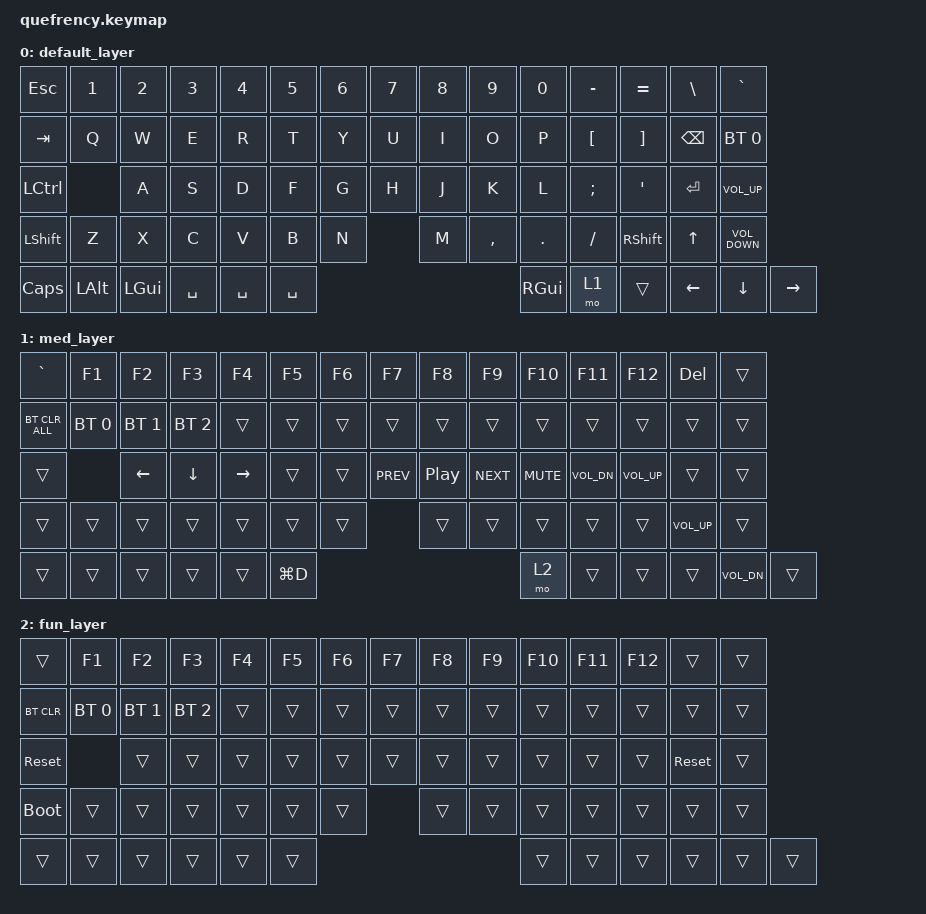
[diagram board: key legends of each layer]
/*
 * Copyright (c) 2020 The ZMK Contributors
 *
 * SPDX-License-Identifier: MIT
 */

#include <behaviors.dtsi>
#include <dt-bindings/zmk/bt.h>
#include <dt-bindings/zmk/keys.h>

#define DEFAULT 0
#define MED   1
#define FUN   2

/ {
    keymap {
        compatible = "zmk,keymap";

        // ----------------------------------------------      -----------------------------------------------------
        // | ESC  |  1   |  2  |  3   |  4  |  5  |  6  |      |  7  |  8  |  9  |  0  |  -  |  =  |  BKSPC |  `   |
        // | TAB   |  Q   |  W  |  E   |  R  |  T  |        |  Y  |  U  |  I  |  O  |  P  |  [  |  ]  |  \  | DEL  |
        // | CAPS  |  A   |  S  |  D   |  F  |  G  |        |  H  |  J  |  K  |  L  |  ;  |  '  |   ENTER  | PGUP |
        // | SHIFT   |  Z   |  X  |  C  |  V   |  B  |        |  N  |  M  |  ,  |  .  |  /  |  RSHFT  |  UP | PGDN |
        // |  LCTRL   | LGUI | LALT  | FN|   SPACE  |        |    SPACE    | RALT | FN | RCTRL | LFT | DWN | RGHT |
        // -------------------------------------------        ------------------------------------------------------

        default_layer {
            bindings = <
&kp ESC           &kp N1               &kp N2           &kp N3         &kp N4            &kp N5         &kp N6       &kp N7     &kp N8  &kp N9     &kp N0    &kp MINUS  &kp EQUAL             &kp BACKSLASH                 &kp GRAVE
&kp TAB                         &kp Q            &kp W          &kp E             &kp R          &kp T               &kp Y      &kp U   &kp I      &kp O     &kp P      &kp LBKT              &kp RBKT       &kp BACKSPACE                     &bt BT_SEL 0
&kp LEFT_CONTROL                       &kp A            &kp S          &kp D             &kp F          &kp G        &kp H      &kp J   &kp K      &kp L     &kp SEMI   &kp SQT               &kp RET                       &kp C_VOLUME_UP
&kp LSHFT                              &kp Z            &kp X          &kp C             &kp V          &kp B        &kp N      &kp M   &kp COMMA  &kp DOT   &kp FSLH              &kp RSHFT                 &kp UP         &kp C_VOLUME_DOWN
&kp CAPS          &kp LEFT_ALT         &kp LGUI                        &kp SPACE                        &kp SPACE    &kp SPACE                     &kp RGUI  &mo 1      &trans                &kp LEFT                      &kp DOWN           &kp RIGHT
            >;
        };

        med_layer {
            bindings = <
&kp GRAVE       &kp F1                &kp F2                  &kp F3                  &kp F4             &kp F5          &kp F6    &kp F7      &kp F8    &kp F9      &kp F10     &kp F11       &kp F12               &kp DEL                &trans
&bt BT_CLR_ALL          &bt BT_SEL 0            &bt BT_SEL 1            &bt BT_SEL 2             &trans          &trans            &trans      &trans    &trans      &trans      &trans        &trans                &trans   &trans                      &trans
&trans                                &kp LEFT                &kp DOWN                &kp RIGHT          &trans          &trans    &kp C_PREV  &kp C_PP  &kp C_NEXT  &kp C_MUTE  &kp C_VOL_DN  &kp C_VOL_UP          &trans                 &trans
&trans                                &trans                  &trans                  &trans             &trans          &trans    &trans      &trans    &trans      &trans      &trans                      &trans           &kp C_VOL_UP  &trans
&trans          &trans                &trans                                          &trans                             &trans    &kp LG(D)                         &mo 2       &trans        &trans                &trans                 &kp C_VOL_DN  &trans
            >;
        };

        fun_layer {
            bindings = <
&trans       &kp F1                &kp F2                &kp F3                &kp F4          &kp F5          &kp F6    &kp F7  &kp F8  &kp F9  &kp F10  &kp F11  &kp F12          &trans              &trans
&bt BT_CLR           &bt BT_SEL 0          &bt BT_SEL 1          &bt BT_SEL 2          &trans          &trans            &trans  &trans  &trans  &trans   &trans   &trans           &trans      &trans          &trans
&sys_reset                         &trans                &trans                &trans          &trans          &trans    &trans  &trans  &trans  &trans   &trans   &trans           &sys_reset          &trans
&bootloader                        &trans                &trans                &trans          &trans          &trans    &trans  &trans  &trans  &trans   &trans            &trans              &trans  &trans
&trans       &trans                &trans                                      &trans                          &trans    &trans                  &trans   &trans   &trans           &trans              &trans  &trans
            >;
        };
    };
};
